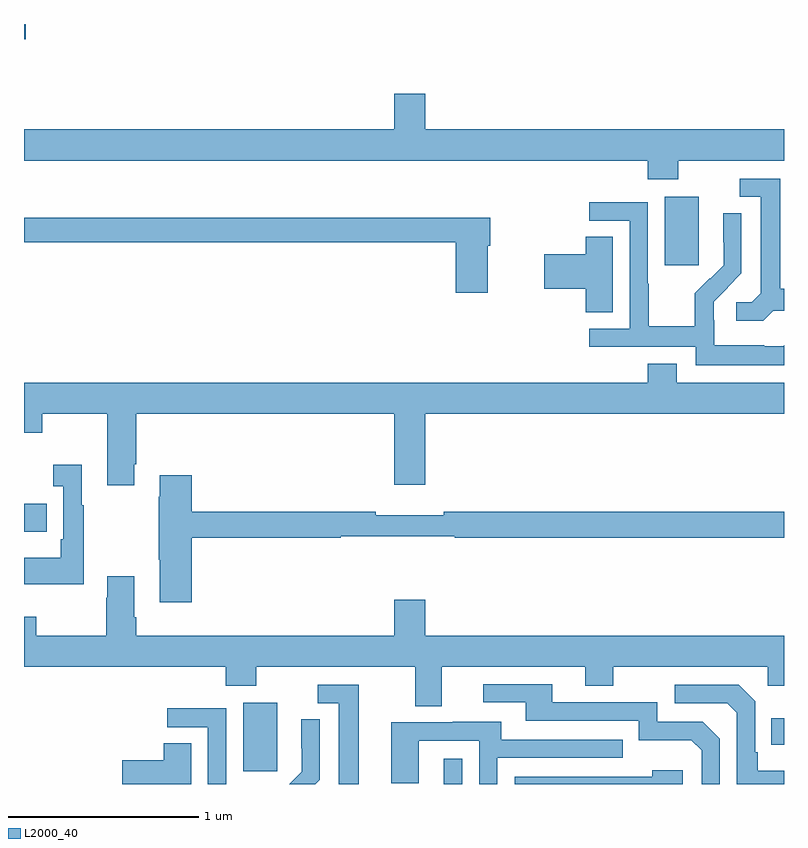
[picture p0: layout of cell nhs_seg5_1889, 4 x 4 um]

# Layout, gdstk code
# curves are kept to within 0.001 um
import gdstk
lib = gdstk.Library(unit=1e-6, precision=1e-09)
def R(c, l, rs):  # rectangles x0, y0, x1, y1
    for r in rs: c.add(gdstk.rectangle(r[:2], r[2:], *l))
def P(c, l, *ps):  # polygons
    for p in ps: c.add(gdstk.Polygon(p, *l))
L2000_40 = (2000, 40)

nhs_seg5_1889 = lib.new_cell('nhs_seg5_1889')
R(nhs_seg5_1889, L2000_40, [(225.209,866.799,225.306,866.932), (224.153,866.865,224.332,867.226), (226.933,867.005,227,867.145), (223,868.127,223.121,868.275), (226.373,869.529,226.552,869.89), (223,870.718,223.009,870.799)])
P(nhs_seg5_1889, L2000_40, [(226.443,870.08),(227,870.08),(227,870.244),(225.112,870.244),(225.112,870.433),(224.948,870.433),(224.948,870.244),(223,870.244),(223,870.08),(226.283,870.08),(226.283,869.981),(226.443,869.981)],
  [(226.944,869.289),(227,869.289),(227,869.405),(226.981,869.405),(226.981,869.985),(226.767,869.985),(226.767,869.889),(226.877,869.889),(226.877,869.381),(226.83,869.334),(226.749,869.334),(226.749,869.237),(226.892,869.237)],
  [(227,869.108),(226.995,869.103),(226.895,869.103),(226.895,869.107),(226.632,869.107),(226.632,869.241),(226.63,869.241),(226.63,869.338),(226.776,869.486),(226.776,869.804),(226.68,869.804),(226.68,869.65),(226.682,869.65),(226.682,869.528),(226.611,869.457),(226.608,869.46),(226.531,869.383),(226.531,869.209),(226.287,869.209),(226.287,869.432),(226.284,869.432),(226.284,869.862),(225.975,869.862),(225.975,869.763),(226.188,869.763),(226.188,869.196),(225.975,869.196),(225.975,869.1),(226.536,869.1),(226.536,869.003),(227,869.003)],
  [(225.442,869.633),(225.455,869.633),(225.455,869.779),(223,869.779),(223,869.65),(225.272,869.65),(225.272,869.385),(225.442,869.385)],
  [(226.099,869.678),(225.956,869.678),(225.956,869.588),(225.738,869.588),(225.738,869.405),(225.956,869.405),(225.956,869.281),(226.099,869.281)],
  [(223.579,868.483),(223.592,868.483),(223.592,868.748),(224.948,868.748),(224.948,868.374),(225.112,868.374),(225.112,868.748),(227,868.748),(227,868.912),(226.435,868.912),(226.435,869.011),(226.283,869.011),(226.283,868.912),(223,868.912),(223,868.649),(223.095,868.649),(223.095,868.748),(223.439,868.748),(223.439,868.371),(223.579,868.371)],
  [(223.315,868.267),(223.303,868.267),(223.303,868.48),(223.155,868.48),(223.155,868.367),(223.206,868.367),(223.206,868.087),(223.194,868.087),(223.194,867.991),(223,867.991),(223,867.851),(223.315,867.851)],
  [(223.883,868.096),(224.666,868.096),(224.666,868.104),(225.266,868.104),(225.266,868.096),(227,868.096),(227,868.232),(225.208,868.232),(225.208,868.213),(224.852,868.213),(224.852,868.232),(223.883,868.232),(223.883,868.423),(223.715,868.423),(223.715,868.31),(223.708,868.31),(223.708,867.979),(223.715,867.979),(223.715,867.756),(223.883,867.756)],
  [(225.199,867.416),(225.953,867.416),(225.953,867.317),(226.101,867.317),(226.101,867.416),(226.914,867.416),(226.914,867.317),(227,867.317),(227,867.58),(225.112,867.58),(225.112,867.769),(224.948,867.769),(224.948,867.58),(223.592,867.58),(223.592,867.676),(223.579,867.676),(223.579,867.892),(223.439,867.892),(223.439,867.779),(223.432,867.779),(223.432,867.58),(223.065,867.58),(223.065,867.679),(223,867.679),(223,867.416),(224.063,867.416),(224.063,867.317),(224.223,867.317),(224.223,867.416),(225.059,867.416),(225.059,867.208),(225.199,867.208)],
  [(226.662,867.036),(226.572,867.126),(226.332,867.126),(226.332,867.228),(225.781,867.228),(225.781,867.324),(225.417,867.324),(225.417,867.228),(225.641,867.228),(225.641,867.132),(226.236,867.132),(226.236,867.029),(226.513,867.029),(226.566,866.976),(226.566,866.799),(226.662,866.799)],
  [(224.761,867.321),(224.547,867.321),(224.547,867.225),(224.657,867.225),(224.657,866.799),(224.761,866.799)],
  [(227,866.869),(226.861,866.869),(226.861,866.965),(226.848,866.965),(226.848,867.234),(226.761,867.321),(226.425,867.321),(226.425,867.225),(226.701,867.225),(226.752,867.174),(226.752,866.799),(227,866.799)],
  [(224.064,867.198),(223.755,867.198),(223.755,867.099),(223.968,867.099),(223.968,866.799),(224.064,866.799)],
  [(224.556,866.822),(224.556,867.14),(224.46,867.14),(224.46,866.986),(224.462,866.986),(224.462,866.864),(224.397,866.799),(224.533,866.799)],
  [(225.492,866.937),(226.151,866.937),(226.151,867.033),(225.511,867.033),(225.511,867.127),(225.257,867.127),(225.257,867.123),(224.933,867.123),(224.933,866.803),(225.078,866.803),(225.078,867.027),(225.396,867.027),(225.396,866.799),(225.492,866.799)],
  [(223.879,867.014),(223.736,867.014),(223.736,866.924),(223.518,866.924),(223.518,866.799),(223.879,866.799)],
  [(226.468,866.872),(226.307,866.872),(226.307,866.838),(225.582,866.838),(225.582,866.799),(226.468,866.799)])

lib.write_gds('nhs_seg5_1889.gds')
